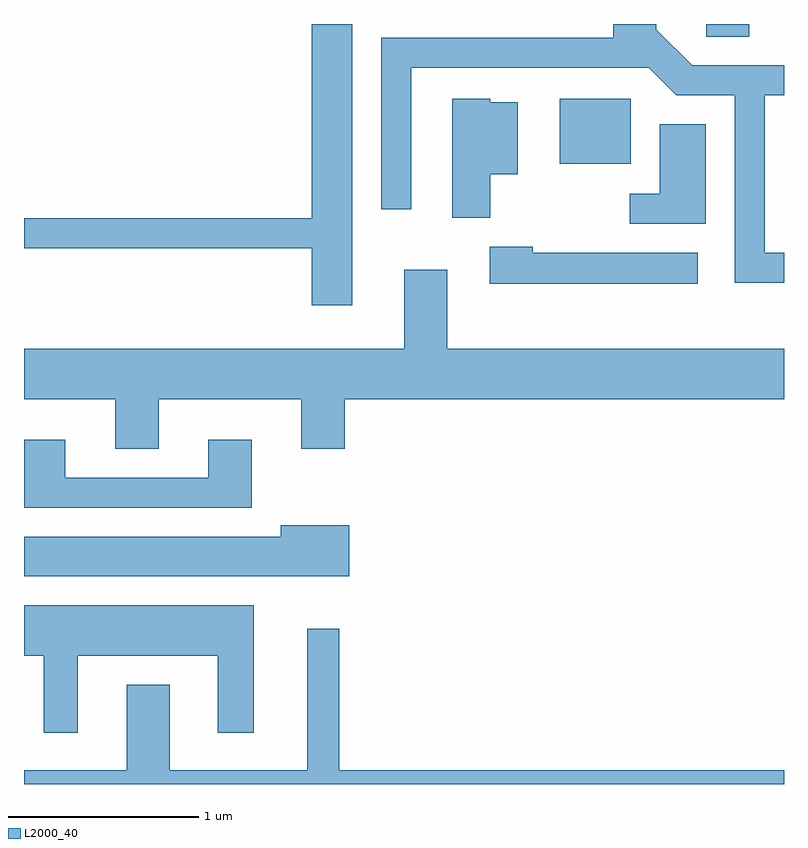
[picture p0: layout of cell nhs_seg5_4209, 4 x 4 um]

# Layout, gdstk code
import gdstk
lib = gdstk.Library(unit=1e-6, precision=1e-09)
def R(c, l, rs):  # rectangles x0, y0, x1, y1
    for r in rs: c.add(gdstk.rectangle(r[:2], r[2:], *l))
def P(c, l, *ps):  # polygons
    for p in ps: c.add(gdstk.Polygon(p, *l))
L2000_40 = (2000, 40)

nhs_seg5_4209 = lib.new_cell('nhs_seg5_4209')
R(nhs_seg5_4209, L2000_40, [(312.431,1491.336,312.804,1491.679), (313.201,1492.006,313.429,1492.072)])
P(nhs_seg5_4209, L2000_40, [(311.339,1492.072),(311.126,1492.072),(311.126,1491.049),(309.611,1491.049),(309.611,1490.891),(311.126,1490.891),(311.126,1490.591),(311.339,1490.591)],
  [(313.611,1490.869),(313.509,1490.869),(313.509,1491.696),(313.611,1491.696),(313.611,1491.854),(313.127,1491.854),(312.939,1492.042),(312.939,1492.072),(312.711,1492.072),(312.711,1491.999),(311.491,1491.999),(311.491,1491.098),(311.649,1491.098),(311.649,1491.841),(312.899,1491.841),(313.044,1491.696),(313.351,1491.696),(313.351,1490.711),(313.611,1490.711)],
  [(312.064,1491.281),(312.209,1491.281),(312.209,1491.659),(312.064,1491.659),(312.064,1491.679),(311.866,1491.679),(311.866,1491.051),(312.064,1491.051)],
  [(313.199,1491.544),(312.956,1491.544),(312.956,1491.179),(312.798,1491.179),(312.798,1491.021),(313.199,1491.021)],
  [(313.158,1490.869),(312.289,1490.869),(312.289,1490.899),(312.061,1490.899),(312.061,1490.706),(313.158,1490.706)],
  [(310.319,1490.096),(311.071,1490.096),(311.071,1489.836),(311.299,1489.836),(311.299,1490.096),(313.611,1490.096),(313.611,1490.364),(311.839,1490.364),(311.839,1490.779),(311.611,1490.779),(311.611,1490.364),(309.611,1490.364),(309.611,1490.096),(310.091,1490.096),(310.091,1489.836),(310.319,1489.836)],
  [(310.809,1489.884),(310.581,1489.884),(310.581,1489.684),(309.829,1489.684),(309.829,1489.884),(309.611,1489.884),(309.611,1489.526),(310.809,1489.526)],
  [(311.324,1489.434),(310.961,1489.434),(310.961,1489.374),(309.611,1489.374),(309.611,1489.166),(311.324,1489.166)],
  [(309.894,1488.746),(310.631,1488.746),(310.631,1488.341),(310.819,1488.341),(310.819,1489.014),(309.611,1489.014),(309.611,1488.746),(309.716,1488.746),(309.716,1488.341),(309.894,1488.341)],
  [(313.611,1488.144),(311.269,1488.144),(311.269,1488.888),(311.101,1488.888),(311.101,1488.144),(310.379,1488.144),(310.379,1488.594),(310.151,1488.594),(310.151,1488.144),(309.611,1488.144),(309.611,1488.072),(313.611,1488.072)])

lib.write_gds('nhs_seg5_4209.gds')
